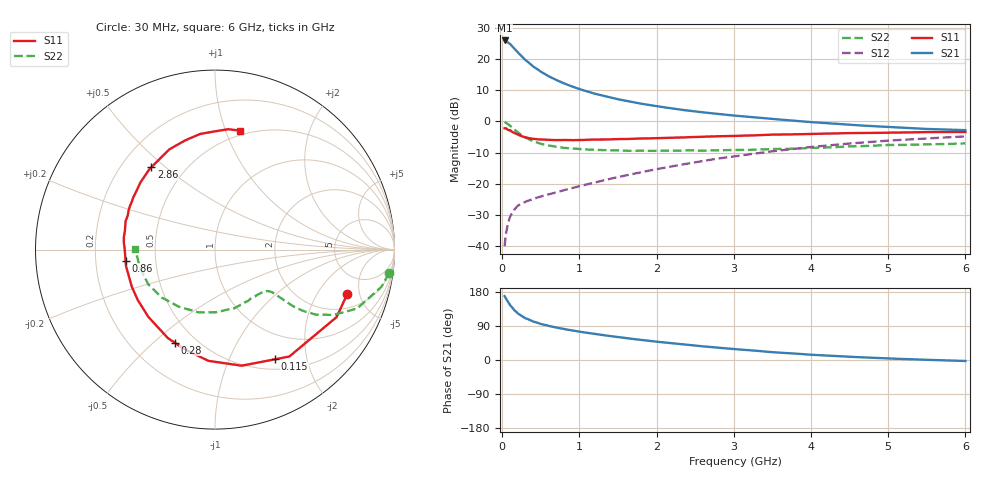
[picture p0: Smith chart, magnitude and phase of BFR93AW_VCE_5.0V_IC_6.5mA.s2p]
! Infineon Technologies  Discrete & RF Semiconductors
! BFR93AW
! VCE =  5.0 V,  IC =  6.5 mA
! Common Emitter S-Parameters:  Nov 2015
# GHz  S  MA  R  50
!  f  S11  S21  S12  S22
! GHz  MAG  ANG  MAG  ANG  MAG  ANG  MAG  ANG
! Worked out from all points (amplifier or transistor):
!   206 points, 30 MHz to 6 GHz, reference 50 ohm
!   highest |S21| = 25.9 dB at 30 MHz (marker M1)
!   |S21| within 3 dB of that: start of sweep to 171.2 MHz
!   unconditionally stable (mu >= 1): 863 MHz to 2.229 GHz
!   at 200 MHz: K = 0.36, MSG = 24.6 dB, |S12| = -27.0 dB
!   at 1.56 GHz: K = 1.08, MAG = 10.4 dB, |S12| = -17.5 dB
!   at 6 GHz: K = 0.91, MSG = 1.0 dB, |S12| = -4.8 dB
!   S11 on the Smith chart (normalised r, x): 30 MHz: 3.05, -3.80; 115 MHz: 0.63, -1.50; 280 MHz: 0.38, -0.59; 860 MHz: 0.33, -0.06; 2.86 GHz: 0.32, +0.45; 6 GHz: 0.46, +1.13
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0.03  0.7773 -18.5  19.69 168.6  0.0101 80.5  0.979 -7.7
0.05  0.775 -29.0  19.37 161.0  0.0168 76.9  0.9503 -12.6
0.1  0.7255 -55.2  17.38 145.1  0.0297 64.7  0.8565 -22.6
0.115  0.6967 -61.3  16.55 141.7  0.0321 62.0  0.8246 -24.3
0.15  0.6638 -77.0  14.88 132.4  0.038 57.0  0.7533 -28.9
0.2  0.6211 -93.3  12.76 123.1  0.0447 52.6  0.6687 -32.8
0.24  0.5861 -104.1  11.32 117.4  0.0477 50.2  0.6132 -34.4
0.28  0.565 -113.5  10.14 112.6  0.0505 49.3  0.57 -35.4
0.3  0.5587 -118.0  9.597 110.2  0.0519 49.0  0.5505 -35.8
0.4  0.5277 -134.7  7.56 101.5  0.0575 48.3  0.4805 -36.3
0.5  0.514 -146.7  6.237 95.1  0.0631 49.1  0.4369 -36.4
0.6  0.5078 -155.7  5.272 90.0  0.0679 51.5  0.4111 -36.4
0.7  0.5023 -163.3  4.588 85.6  0.0732 53.4  0.3931 -36.9
0.86  0.5023 -172.8  3.791 79.6  0.0829 56.6  0.3728 -38.3
1.04  0.5047 178.4  3.17 73.5  0.0946 59.4  0.359 -40.7
1.5  0.5227 162.3  2.257 60.5  0.1287 64.3  0.3432 -49.6
2.02  0.5404 147.1  1.734 47.9  0.1742 65.7  0.3389 -62.6
2.86  0.5802 127.7  1.291 31.4  0.261 62.6  0.3453 -85.0
3.1  0.5891 122.5  1.209 27.4  0.2866 60.8  0.3492 -92.0
4.1  0.6333 103.7  0.955 12.9  0.3996 50.8  0.3786 -125.5
5.1  0.6611 88.9  0.801 3.3  0.5003 38.5  0.4193 -155.7
6  0.6775 77.9  0.724 -2.6  0.5754 27.5  0.4446 179.6
